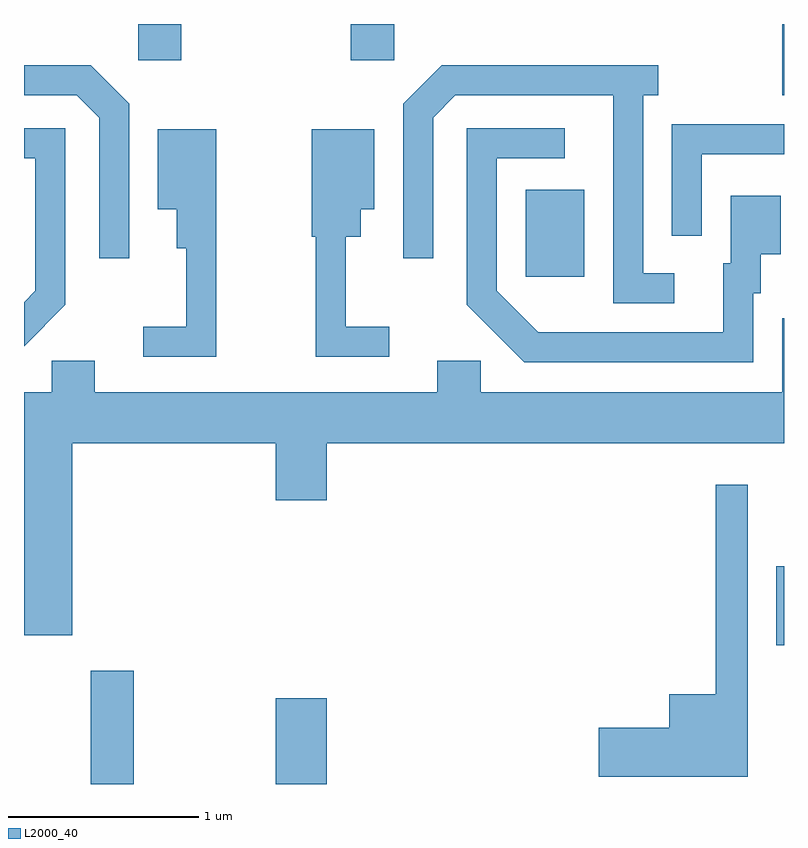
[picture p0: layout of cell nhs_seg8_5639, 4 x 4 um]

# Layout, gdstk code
import gdstk
lib = gdstk.Library(unit=1e-6, precision=1e-09)
def R(c, l, rs):  # rectangles x0, y0, x1, y1
    for r in rs: c.add(gdstk.rectangle(r[:2], r[2:], *l))
def P(c, l, *ps):  # polygons
    for p in ps: c.add(gdstk.Polygon(p, *l))
L2000_40 = (2000, 40)

nhs_seg8_5639 = lib.new_cell('nhs_seg8_5639')
R(nhs_seg8_5639, L2000_40, [(353.961,1892.342,354.189,1892.939), (354.936,1892.342,355.204,1892.794), (357.571,1893.071,357.611,1893.489), (356.251,1895.011,356.559,1895.469), (357.601,1895.966,357.611,1896.342), (354.211,1896.151,354.439,1896.342), (355.331,1896.151,355.559,1896.342)])
P(nhs_seg8_5639, L2000_40, [(357.033,1895.029),(356.869,1895.029),(356.869,1895.966),(356.948,1895.966),(356.948,1896.124),(355.809,1896.124),(355.606,1895.922),(355.606,1895.108),(355.764,1895.108),(355.764,1895.849),(355.882,1895.966),(356.711,1895.966),(356.711,1894.871),(357.033,1894.871)],
  [(354.164,1895.922),(353.962,1896.124),(353.611,1896.124),(353.611,1895.966),(353.889,1895.966),(354.006,1895.849),(354.006,1895.108),(354.164,1895.108)],
  [(357.179,1895.656),(357.611,1895.656),(357.611,1895.814),(357.021,1895.814),(357.021,1895.228),(357.179,1895.228)],
  [(357.449,1894.926),(357.489,1894.926),(357.489,1895.131),(357.594,1895.131),(357.594,1895.439),(357.331,1895.439),(357.331,1895.084),(357.291,1895.084),(357.291,1894.719),(356.317,1894.719),(356.099,1894.937),(356.099,1895.636),(356.458,1895.636),(356.458,1895.794),(355.941,1895.794),(355.941,1894.864),(356.244,1894.561),(357.449,1894.561)],
  [(353.829,1894.864),(353.829,1895.794),(353.611,1895.794),(353.611,1895.636),(353.671,1895.636),(353.671,1894.937),(353.611,1894.877),(353.611,1894.645)],
  [(355.533,1894.749),(355.304,1894.749),(355.304,1895.221),(355.384,1895.221),(355.384,1895.366),(355.454,1895.366),(355.454,1895.789),(355.126,1895.789),(355.126,1895.221),(355.146,1895.221),(355.146,1894.591),(355.533,1894.591)],
  [(354.624,1895.789),(354.316,1895.789),(354.316,1895.366),(354.416,1895.366),(354.416,1895.161),(354.466,1895.161),(354.466,1894.749),(354.238,1894.749),(354.238,1894.591),(354.624,1894.591)],
  [(353.864,1894.136),(354.936,1894.136),(354.936,1893.836),(355.204,1893.836),(355.204,1894.136),(357.611,1894.136),(357.611,1894.794),(357.601,1894.794),(357.601,1894.404),(356.014,1894.404),(356.014,1894.569),(355.786,1894.569),(355.786,1894.404),(353.984,1894.404),(353.984,1894.569),(353.756,1894.569),(353.756,1894.404),(353.611,1894.404),(353.611,1893.126),(353.864,1893.126)],
  [(357.419,1893.918),(357.251,1893.918),(357.251,1892.814),(357.006,1892.814),(357.006,1892.639),(356.636,1892.639),(356.636,1892.381),(357.419,1892.381)])

lib.write_gds('nhs_seg8_5639.gds')
